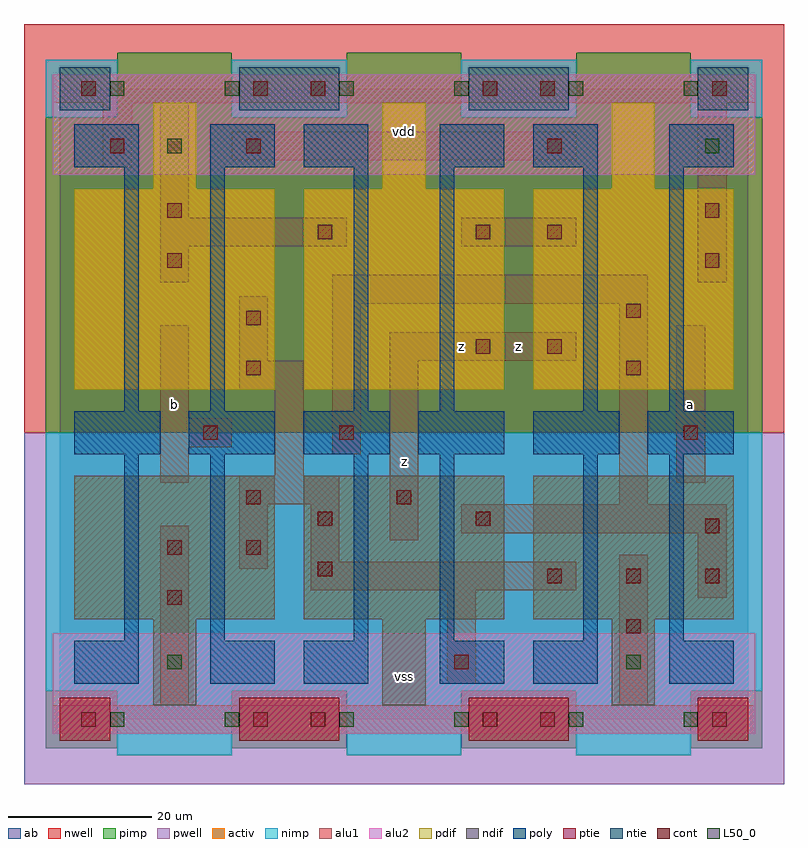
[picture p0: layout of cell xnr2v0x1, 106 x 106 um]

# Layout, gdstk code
import gdstk
lib = gdstk.Library(unit=1e-6, precision=1e-09)
def R(c, l, rs):  # rectangles x0, y0, x1, y1
    for r in rs: c.add(gdstk.rectangle(r[:2], r[2:], *l))
def A(c, l, x, y, w, h, nx, ny, dx, dy):  # array of equal rectangles
    R(c, l, [(x+i*dx, y+j*dy, x+i*dx+w, y+j*dy+h) for i in range(nx) for j in range(ny)])
ndif = (3, 0)
pdif = (4, 0)
ntie = (5, 0)
ptie = (6, 0)
cont = (25, 0)
pwell = (41, 0)
nwell = (42, 0)
activ = (43, 0)
pimp = (44, 0)
nimp = (45, 0)
poly = (46, 0)
alu1 = (49, 0)
L50_0 = (50, 0)
alu2 = (51, 0)
ab = (63, 0)

xnr2v0x1 = lib.new_cell('xnr2v0x1')
A(xnr2v0x1, ndif, 13, 2, 6, 12, 3, 1, 32, 0)
A(xnr2v0x1, ndif, 2, 14, 28, 20, 3, 1, 32, 0)
A(xnr2v0x1, pdif, 2, 46, 28, 28, 3, 1, 32, 0)
A(xnr2v0x1, pdif, 13, 74, 6, 12, 3, 1, 32, 0)
R(xnr2v0x1, ntie, [(0,85,7,91), (25,85,39,91), (57,85,71,91), (89,85,96,91)])
R(xnr2v0x1, ptie, [(0,-3,7,3), (25,-3,39,3), (57,-3,71,3), (89,-3,96,3)])
A(xnr2v0x1, cont, 68, 19, 2, 2, 3, 1, 11, 0)
R(xnr2v0x1, cont, [(3,-1,5,1), (27,-1,29,1), (35,-1,37,1), (59,-1,61,1), (67,-1,69,1), (91,-1,93,1), (55,7,57,9), (79,12,81,14), (15,16,17,18), (36,20,38,22), (15,23,17,25), (26,23,28,25), (90,26,92,28), (36,27,38,29), (58,27,60,29), (26,30,28,32), (47,30,49,32), (20,39,22,41), (39,39,41,41), (87,39,89,41), (26,48,28,50), (79,48,81,50), (58,51,60,53), (68,51,70,53), (26,55,28,57), (79,56,81,58), (15,63,17,65), (90,63,92,65), (36,67,38,69), (58,67,60,69), (68,67,70,69), (15,70,17,72), (90,70,92,72), (7,79,9,81), (26,79,28,81), (68,79,70,81), (3,87,5,89), (27,87,29,89), (35,87,37,89), (59,87,61,89), (67,87,69,89), (91,87,93,89)])
R(xnr2v0x1, pwell, [(-5,-9,101,40)])
R(xnr2v0x1, nwell, [(-5,40,101,97)])
A(xnr2v0x1, activ, 13, 2, 6, 12, 3, 2, 32, 72)
A(xnr2v0x1, activ, 2, 14, 28, 20, 3, 1, 32, 0)
A(xnr2v0x1, activ, 2, 46, 28, 28, 3, 1, 32, 0)
R(xnr2v0x1, activ, [(0,-3,7,3), (25,-3,39,3), (57,-3,71,3), (89,-3,96,3), (0,85,7,91), (25,85,39,91), (57,85,71,91), (89,85,96,91)])
A(xnr2v0x1, pimp, 8, 84, 16, 9, 3, 1, 32, 0)
R(xnr2v0x1, pimp, [(-2,-4,8,4), (24,-4,40,4), (56,-4,72,4), (88,-4,98,4), (-2,40,98,84)])
A(xnr2v0x1, nimp, 8, -5, 16, 9, 3, 1, 32, 0)
R(xnr2v0x1, nimp, [(-2,4,98,40), (-2,84,8,92), (24,84,40,92), (56,84,72,92), (88,84,98,92)])
A(xnr2v0x1, poly, 2, 37, 12, 6, 6, 1, 16, 0)
R(xnr2v0x1, poly, [(2,5,11,11), (21,5,30,11), (34,5,43,11), (53,5,62,11), (66,5,75,11), (85,5,94,11), (9,11,11,37), (21,11,23,37), (41,11,43,37), (53,11,55,37), (73,11,75,37), (85,11,87,37), (9,43,11,77), (21,43,23,77), (41,43,43,77), (53,43,55,77), (73,43,75,77), (85,43,87,77), (2,77,11,83), (21,77,30,83), (34,77,43,83), (53,77,62,83), (66,77,75,83), (85,77,94,83)])
R(xnr2v0x1, alu1, [(-1,-2,97,2), (14,2,18,27), (78,2,82,23), (54,5,58,18), (89,17,93,26), (35,18,72,22), (25,21,29,30), (35,22,39,30), (46,25,50,50), (56,26,93,30), (25,30,39,34), (78,30,82,58), (14,33,18,38), (86,33,90,55), (30,34,34,46), (38,37,42,58), (14,38,24,42), (14,42,18,55), (25,46,34,50), (25,50,29,59), (46,50,72,54), (38,58,82,62), (14,61,18,66), (89,61,93,86), (14,66,40,70), (56,66,72,70), (14,70,18,86), (6,77,10,86), (24,78,72,82), (-1,86,97,90)])
A(xnr2v0x1, L50_0, 7, -1, 2, 2, 6, 2, 16, 88)
R(xnr2v0x1, L50_0, [(15,7,17,9), (79,7,81,9), (15,79,17,81), (90,79,92,81)])
R(xnr2v0x1, alu2, [(-1,-2,97,12), (-1,76,97,90)])
R(xnr2v0x1, ab, [(0,0,96,88)])
xnr2v0x1.add(gdstk.Label('b', (16,44), layer=49, texttype=0))
xnr2v0x1.add(gdstk.Label('z', (48,36), layer=49, texttype=0))
xnr2v0x1.add(gdstk.Label('z', (64,52), layer=49, texttype=0))
xnr2v0x1.add(gdstk.Label('z', (56,52), layer=49, texttype=0))
xnr2v0x1.add(gdstk.Label('a', (88,44), layer=49, texttype=0))
xnr2v0x1.add(gdstk.Label('vss', (48,6), layer=51, texttype=0))
xnr2v0x1.add(gdstk.Label('vdd', (48,82), layer=51, texttype=0))

lib.write_gds('xnr2v0x1.gds')
